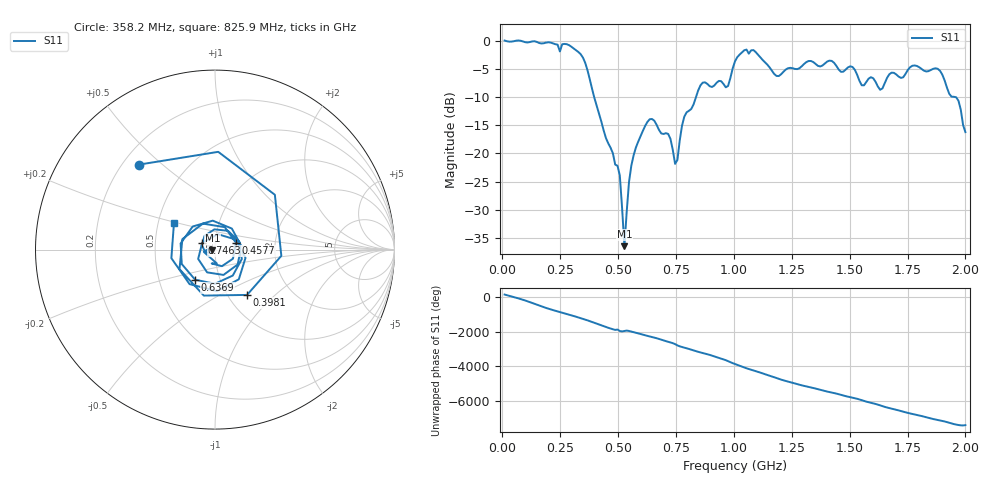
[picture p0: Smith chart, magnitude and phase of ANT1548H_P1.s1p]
!Created with skrf (http://scikit-rf.org).
# Hz S RI R 50.0
!freq ReS11 ImS11
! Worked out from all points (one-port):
!   201 points, 10 MHz to 2 GHz, reference 50 ohm
!   lowest |S11| = -36.5 dB at 527.4 MHz (marker M1), VSWR 1.03, Z = 48.6 - j0.283 ohm
!   |S11| at or under -10 dB: 396.8 MHz to 836.5 MHz (439.6 MHz wide, 71.3 % of centre); 1.956 GHz to end of sweep
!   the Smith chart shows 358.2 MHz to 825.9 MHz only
!   S11 on the Smith chart (normalised r, x): 358.2 MHz: 0.26, +0.42; 398.1 MHz: 1.22, -0.68; 457.8 MHz: 1.26, +0.10; 636.9 MHz: 0.76, -0.27; 746.3 MHz: 0.86, +0.07; 825.9 MHz: 0.60, +0.19
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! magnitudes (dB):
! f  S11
! 10 MHz  0.0
! 258.8 MHz  -0.6
! 358.2 MHz  -3.9
! 398.1 MHz  -10.2
! 457.8 MHz  -18.2
! 507.5 MHz  -23.9
! 527.4 MHz  -36.5
! 547.3 MHz  -25.1
! 557.2 MHz  -22.2
! 636.9 MHz  -13.9
! 716.5 MHz  -16.5
! 746.3 MHz  -21.9
! 756.2 MHz  -21.2
! 786.1 MHz  -13.5
! 825.9 MHz  -11.3
! 865.7 MHz  -7.4
! 975.1 MHz  -8.0
! 1.005 GHz  -3.6
! 1.085 GHz  -1.6
! 1.184 GHz  -6.2
! 1.254 GHz  -4.9
! 1.502 GHz  -4.5
! 1.552 GHz  -7.9
! 1.632 GHz  -8.7
! 1.751 GHz  -5.2
! 1.891 GHz  -5.3
! 1.97 GHz  -10.7
! 2 GHz  -16.2
